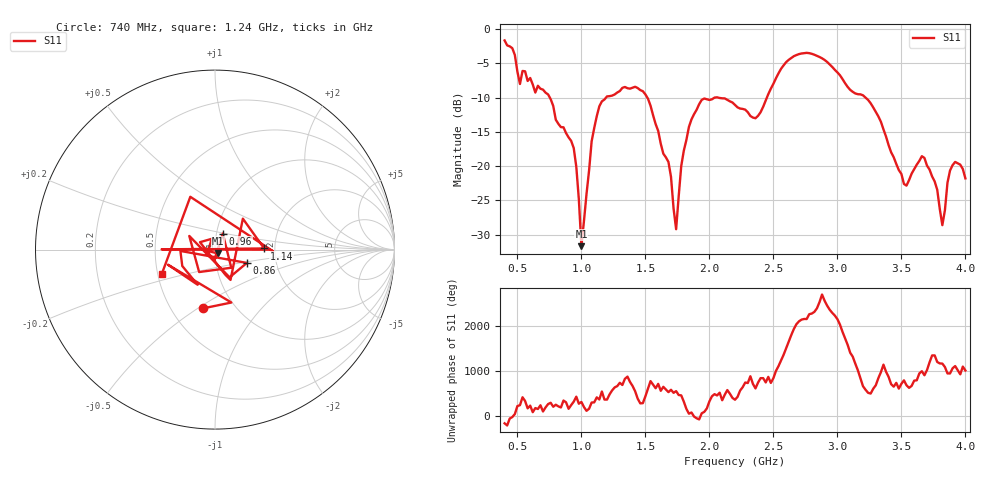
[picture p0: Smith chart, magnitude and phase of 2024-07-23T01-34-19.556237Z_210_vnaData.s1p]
!Created with skrf (http://scikit-rf.org).
# Hz S RI R 50.0
!freq ReS11 ImS11
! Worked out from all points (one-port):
!   181 points, 400 MHz to 4 GHz, reference 50 ohm
!   lowest |S11| = -31.7 dB at 1 GHz (marker M1), VSWR 1.05, Z = 51.5 - j2.19 ohm
!   |S11| at or under -10 dB: 753.9 MHz to 1.191 GHz (437.4 MHz wide, 45 % of centre); 1.516 GHz to 2.038 GHz (522.7 MHz wide, 29.4 % of centre); 3.221 GHz to end of sweep (the widest 3 of 4)
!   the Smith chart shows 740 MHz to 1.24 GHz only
!   S11 on the Smith chart (normalised r, x): 740 MHz: 0.71, -0.53; 860 MHz: 1.41, -0.22; 960 MHz: 1.07, +0.19; 1.14 GHz: 1.75, +0.02; 1.24 GHz: 0.52, -0.16
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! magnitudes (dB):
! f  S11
! 400 MHz  -1.6
! 520 MHz  -8.0
! 740 MHz  -9.5
! 860 MHz  -14.3
! 960 MHz  -20.1
! 1 GHz  -31.7
! 1.08 GHz  -16.4
! 1.14 GHz  -11.2
! 1.24 GHz  -9.7
! 1.3 GHz  -9.0
! 1.52 GHz  -10.1
! 1.68 GHz  -19.4
! 1.74 GHz  -29.2
! 1.76 GHz  -24.4
! 1.84 GHz  -14.3
! 1.94 GHz  -10.3
! 2.2 GHz  -11.0
! 2.36 GHz  -13.0
! 2.66 GHz  -3.9
! 2.88 GHz  -4.2
! 3.1 GHz  -8.9
! 3.26 GHz  -10.8
! 3.56 GHz  -22.0
! 3.68 GHz  -18.8
! 3.78 GHz  -23.4
! 3.82 GHz  -28.6
! 3.9 GHz  -19.8
! 4 GHz  -21.8
